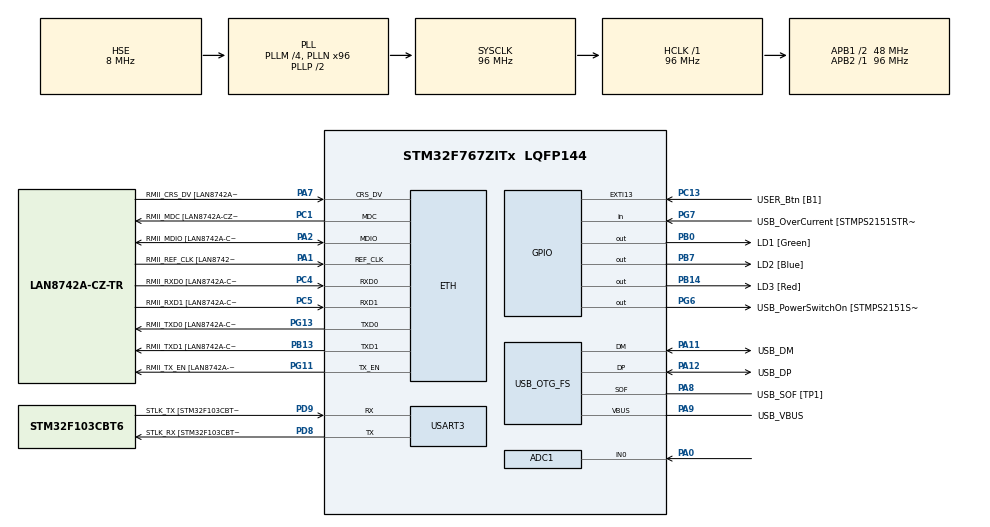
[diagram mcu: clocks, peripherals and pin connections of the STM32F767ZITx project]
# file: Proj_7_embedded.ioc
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ADC1.Channel-0\#ChannelRegularConversion=ADC_CHANNEL_0
ADC1.ClockPrescaler=ADC_CLOCK_SYNC_PCLK_DIV8
ADC1.ContinuousConvMode=ENABLE
ADC1.DMAContinuousRequests=ENABLE
ADC1.ExternalTrigConv=ADC_SOFTWARE_START
ADC1.NbrOfConversionFlag=1
ADC1.Rank-0\#ChannelRegularConversion=1
ADC1.SamplingTime-0\#ChannelRegularConversion=ADC_SAMPLETIME_480CYCLES
ADC1.master=1
Dma.ADC1.0.Direction=DMA_PERIPH_TO_MEMORY
Dma.ADC1.0.FIFOMode=DMA_FIFOMODE_DISABLE
Dma.ADC1.0.Instance=DMA2_Stream0
Dma.ADC1.0.MemDataAlignment=DMA_MDATAALIGN_HALFWORD
Dma.ADC1.0.MemInc=DMA_MINC_ENABLE
Dma.ADC1.0.Mode=DMA_CIRCULAR
Dma.ADC1.0.PeriphDataAlignment=DMA_PDATAALIGN_HALFWORD
Dma.ADC1.0.PeriphInc=DMA_PINC_DISABLE
Dma.ADC1.0.Priority=DMA_PRIORITY_LOW
Dma.Request0=ADC1
ETH.MediaInterface=ETH_MEDIA_INTERFACE_RMII
ETH.PHY_Name=LAN8742A_PHY_ADDRESS
ETH.PHY_Value=0
ETH.PhyAddress=0
FREERTOS.Tasks01=defaultTask,0,128,StartDefaultTask,Default,NULL,Dynamic,NULL,NULL;TaskEthernetADC,0,256,StartTaskEthernet,As external,NULL,Dynamic,NULL,NULL;TaskEthernetCMD,0,256,StartTaskEthernetCMD,As external,NULL,Dynamic,NULL,NULL;TaskADC,0,256,StartTaskADC,As external,NULL,Dynamic,NULL,NULL;TaskDecoder,0,256,StartTaskDecoder,As external,NULL,Dynamic,NULL,NULL
LWIP.GATEWAY_ADDRESS=192.168.001.005
LWIP.IP_ADDRESS=192.168.001.002
LWIP.LWIP_DHCP=0
LWIP.NETMASK_ADDRESS=255.255.255.000
LWIP.Version=v2.1.2_Cube
Mcu.Family=STM32F7
Mcu.Name=STM32F767ZITx
Mcu.Package=LQFP144
Mcu.UserConstants=adc_f,500
NVIC.DMA2_Stream0_IRQn=true\:5\:0\:false\:false\:true\:true\:false\:true
NVIC.ETH_IRQn=true\:5\:0\:false\:false\:true\:true\:true\:true
NVIC.PriorityGroup=NVIC_PRIORITYGROUP_4
NVIC.TIM6_DAC_IRQn=true\:0\:0\:false\:false\:true\:false\:false\:true
NVIC.TimeBase=TIM6_DAC_IRQn
NVIC.TimeBaseIP=TIM6
PA0/WKUP.Signal=ADCx_IN0
PA1.GPIO_Label=RMII_REF_CLK [LAN8742A-CZ-TR_REFCLK0]
PA1.Mode=RMII
PA1.Signal=ETH_REF_CLK
PA10.GPIO_Label=USB_ID
PA10.Signal=USB_OTG_FS_ID
PA11.GPIO_Label=USB_DM
PA11.Mode=Device_Only
PA11.Signal=USB_OTG_FS_DM
PA12.GPIO_Label=USB_DP
PA12.Mode=Device_Only
PA12.Signal=USB_OTG_FS_DP
PA13.GPIO_Label=TMS
PA13.Mode=Serial_Wire
PA13.Signal=SYS_JTMS-SWDIO
PA14.GPIO_Label=TCK
PA14.Mode=Serial_Wire
PA14.Signal=SYS_JTCK-SWCLK
PA2.GPIO_Label=RMII_MDIO [LAN8742A-CZ-TR_MDIO]
PA2.Mode=RMII
PA2.Signal=ETH_MDIO
PA7.GPIO_Label=RMII_CRS_DV [LAN8742A-CZ-TR_CRS_DV]
PA7.Mode=RMII
PA7.Signal=ETH_CRS_DV
PA8.GPIO_Label=USB_SOF [TP1]
PA8.Mode=Activate_SOF_FS
PA8.Signal=USB_OTG_FS_SOF
PA9.GPIO_Label=USB_VBUS
PA9.Mode=Activate_VBUS
PA9.Signal=USB_OTG_FS_VBUS
PB0.GPIO_Label=LD1 [Green]
PB0.Signal=GPIO_Output
PB13.GPIO_Label=RMII_TXD1 [LAN8742A-CZ-TR_TXD1]
PB13.Mode=RMII
PB13.Signal=ETH_TXD1
PB14.GPIO_Label=LD3 [Red]
PB14.Signal=GPIO_Output
PB3.GPIO_Label=SWO
PB3.Signal=SYS_JTDO-SWO
PB7.GPIO_Label=LD2 [Blue]
PB7.Signal=GPIO_Output
PC1.GPIO_Label=RMII_MDC [LAN8742A-CZ-TR_MDC]
PC1.Mode=RMII
PC1.Signal=ETH_MDC
PC13.GPIO_Label=USER_Btn [B1]
PC13.Signal=GPXTI13
PC14/OSC32_IN.Mode=LSE-External-Oscillator
PC14/OSC32_IN.Signal=RCC_OSC32_IN
PC15/OSC32_OUT.Mode=LSE-External-Oscillator
PC15/OSC32_OUT.Signal=RCC_OSC32_OUT
PC4.GPIO_Label=RMII_RXD0 [LAN8742A-CZ-TR_RXD0]
PC4.Mode=RMII
PC4.Signal=ETH_RXD0
PC5.GPIO_Label=RMII_RXD1 [LAN8742A-CZ-TR_RXD1]
PC5.Mode=RMII
PC5.Signal=ETH_RXD1
PD8.GPIO_Label=STLK_RX [STM32F103CBT6_PA3]
PD8.Mode=Asynchronous
PD8.Signal=USART3_TX
PD9.GPIO_Label=STLK_TX [STM32F103CBT6_PA2]
PD9.Mode=Asynchronous
PD9.Signal=USART3_RX
PG11.GPIO_Label=RMII_TX_EN [LAN8742A-CZ-TR_TXEN]
PG11.Mode=RMII
PG11.Signal=ETH_TX_EN
PG13.GPIO_Label=RMII_TXD0 [LAN8742A-CZ-TR_TXD0]
PG13.Mode=RMII
PG13.Signal=ETH_TXD0
PG6.GPIO_Label=USB_PowerSwitchOn [STMPS2151STR_EN]
PG6.Signal=GPIO_Output
PG7.GPIO_Label=USB_OverCurrent [STMPS2151STR_FAULT]
PG7.Signal=GPIO_Input
PH0/OSC_IN.GPIO_Label=MCO [STM32F103CBT6_PA8]
PH0/OSC_IN.Mode=HSE-External-Clock-Source
PH0/OSC_IN.Signal=RCC_OSC_IN
PH1/OSC_OUT.Mode=HSE-External-Clock-Source
PH1/OSC_OUT.Signal=RCC_OSC_OUT
ProjectManager.HeapSize=0x200
ProjectManager.StackSize=0x400
ProjectManager.TargetToolchain=STM32CubeIDE
RCC.48MHZClocksFreq_Value=24000000
RCC.AHBFreq_Value=96000000
RCC.APB1CLKDivider=RCC_HCLK_DIV2
RCC.APB1Freq_Value=48000000
RCC.APB1TimFreq_Value=96000000
RCC.APB2Freq_Value=96000000
RCC.APB2TimFreq_Value=96000000
RCC.CortexFreq_Value=96000000
RCC.HCLKFreq_Value=96000000
RCC.HSE_VALUE=8000000
RCC.HSI_VALUE=16000000
RCC.PLLM=4
RCC.PLLMUL=RCC_PLL_MUL9
RCC.PLLN=96
RCC.PLLQ=4
RCC.PRESCALERUSB=RCC_USBCLKSOURCE_PLL_DIV1_5
RCC.SYSCLKFreq_VALUE=96000000
RCC.SYSCLKSource=RCC_SYSCLKSOURCE_PLLCLK
RCC.SYSCLKSourceVirtual=RCC_SYSCLKSOURCE_PLLCLK
RCC.USBFreq_Value=48000000
RCC.VCOOutputFreq_Value=192000000
SH.ADCx_IN0.0=ADC1_IN0,IN0
TIM8.Period=(10000/adc_f)-1
TIM8.Prescaler=9599
TIM8.TIM_MasterOutputTrigger=TIM_TRGO_UPDATE
USART3.VirtualMode-Asynchronous=VM_ASYNC
USB_OTG_FS.VirtualMode=Device_Only
VP_FREERTOS_VS_CMSIS_V1.Mode=CMSIS_V1
VP_LWIP_VS_Enabled.Mode=Enabled
VP_SYS_VS_tim6.Mode=TIM6
VP_TIM8_VS_ClockSourceINT.Mode=Internal
board=NUCLEO-F767ZI

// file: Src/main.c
/* USER CODE BEGIN Header */
/**
  ******************************************************************************
  * @file           : main.c
  * @brief          : Main program body
  ******************************************************************************
  * @attention
  *
  * <h2><center>&copy; Copyright (c) 2021 STMicroelectronics.
  * All rights reserved.</center></h2>
  *
  * This software component is licensed by ST under Ultimate Liberty license
  * SLA0044, the "License"; You may not use this file except in compliance with
  * the License. You may obtain a copy of the License at:
  *                             www.st.com/SLA0044
  *
  ******************************************************************************
  */
/* USER CODE END Header */

#include "main.h"
#include "cmsis_os.h"
#include "adc.h"
#include "dma.h"
#include "lwip.h"
#include "tim.h"
#include "usart.h"
#include "usb_otg.h"
#include "gpio.h"

void SystemClock_Config(void);
void MX_FREERTOS_Init(void);

int main(void)
{

  /* MCU Configuration--------------------------------------------------------*/

  /* Reset of all peripherals, Initializes the Flash interface and the Systick. */
  HAL_Init();

  /* Configure the system clock */
  SystemClock_Config();

  /* Initialize all configured peripherals */
  MX_GPIO_Init();
  MX_DMA_Init();
  MX_ADC1_Init();
  MX_USART3_UART_Init();
  MX_USB_OTG_FS_PCD_Init();
  MX_TIM8_Init();

  /* Call init function for freertos objects (in freertos.c) */
  MX_FREERTOS_Init();
  /* Start scheduler */
  osKernelStart();

  /* We should never get here as control is now taken by the scheduler */
  /* Infinite loop */
  while (1)
  {

  }
}

void SystemClock_Config(void)
{
  RCC_OscInitTypeDef RCC_OscInitStruct = {0};
  RCC_ClkInitTypeDef RCC_ClkInitStruct = {0};
  RCC_PeriphCLKInitTypeDef PeriphClkInitStruct = {0};

  /** Configure LSE Drive Capability
  */
  HAL_PWR_EnableBkUpAccess();
  /** Configure the main internal regulator output voltage
  */
  __HAL_RCC_PWR_CLK_ENABLE();
  __HAL_PWR_VOLTAGESCALING_CONFIG(PWR_REGULATOR_VOLTAGE_SCALE3);
  /** Initializes the CPU, AHB and APB busses clocks
  */
  RCC_OscInitStruct.OscillatorType = RCC_OSCILLATORTYPE_HSE;
  RCC_OscInitStruct.HSEState = RCC_HSE_BYPASS;
  RCC_OscInitStruct.PLL.PLLState = RCC_PLL_ON;
  RCC_OscInitStruct.PLL.PLLSource = RCC_PLLSOURCE_HSE;
  RCC_OscInitStruct.PLL.PLLM = 4;
  RCC_OscInitStruct.PLL.PLLN = 96;
  RCC_OscInitStruct.PLL.PLLP = RCC_PLLP_DIV2;
  RCC_OscInitStruct.PLL.PLLQ = 4;
  if (HAL_RCC_OscConfig(&RCC_OscInitStruct) != HAL_OK)
  {
    Error_Handler();
  }
  /** Activate the Over-Drive mode
  */
  if (HAL_PWREx_EnableOverDrive() != HAL_OK)
  {
    Error_Handler();
  }
  /** Initializes the CPU, AHB and APB busses clocks
  */
  RCC_ClkInitStruct.ClockType = RCC_CLOCKTYPE_HCLK|RCC_CLOCKTYPE_SYSCLK
                              |RCC_CLOCKTYPE_PCLK1|RCC_CLOCKTYPE_PCLK2;
  RCC_ClkInitStruct.SYSCLKSource = RCC_SYSCLKSOURCE_PLLCLK;
  RCC_ClkInitStruct.AHBCLKDivider = RCC_SYSCLK_DIV1;
  RCC_ClkInitStruct.APB1CLKDivider = RCC_HCLK_DIV2;
  RCC_ClkInitStruct.APB2CLKDivider = RCC_HCLK_DIV1;

  if (HAL_RCC_ClockConfig(&RCC_ClkInitStruct, FLASH_LATENCY_3) != HAL_OK)
  {
    Error_Handler();
  }
  PeriphClkInitStruct.PeriphClockSelection = RCC_PERIPHCLK_USART3|RCC_PERIPHCLK_CLK48;
  PeriphClkInitStruct.Usart3ClockSelection = RCC_USART3CLKSOURCE_PCLK1;
  PeriphClkInitStruct.Clk48ClockSelection = RCC_CLK48SOURCE_PLL;
  if (HAL_RCCEx_PeriphCLKConfig(&PeriphClkInitStruct) != HAL_OK)
  {
    Error_Handler();
  }
}

 /**
  * @brief  Period elapsed callback in non blocking mode
  * @note   This function is called  when TIM6 interrupt took place, inside
  * HAL_TIM_IRQHandler(). It makes a direct call to HAL_IncTick() to increment
  * a global variable "uwTick" used as application time base.
  * @param  htim : TIM handle
  * @retval None
  */
void HAL_TIM_PeriodElapsedCallback(TIM_HandleTypeDef *htim)
{
  if (htim->Instance == TIM6) {
    HAL_IncTick();
  }
}

void Error_Handler(void)
{
}

/************************ (C) COPYRIGHT STMicroelectronics *****END OF FILE****/

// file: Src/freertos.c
/* USER CODE BEGIN Header */
/**
  ******************************************************************************
  * File Name          : freertos.c
  * Description        : Code for freertos applications
  ******************************************************************************
  * @attention
  *
  * <h2><center>&copy; Copyright (c) 2021 STMicroelectronics.
  * All rights reserved.</center></h2>
  *
  * This software component is licensed by ST under Ultimate Liberty license
  * SLA0044, the "License"; You may not use this file except in compliance with
  * the License. You may obtain a copy of the License at:
  *                             www.st.com/SLA0044
  *
  ******************************************************************************
  */
/* USER CODE END Header */

#include "FreeRTOS.h"
#include "task.h"
#include "main.h"
#include "cmsis_os.h"

/* USER CODE BEGIN Includes */
#include "task_ADC.h"
#include "task_Decoder.h"
#include "task_ethernet_adc.h"
#include "task_ethernet_cmd.h"
/* USER CODE END Includes */

osThreadId defaultTaskHandle;
osThreadId TaskEthernetADCHandle;
osThreadId TaskEthernetCMDHandle;
osThreadId TaskADCHandle;
osThreadId TaskDecoderHandle;

/* USER CODE BEGIN FunctionPrototypes */
osMailQId  	 ADC_queue;
osMailQId  	 Config_queue;
xQueueHandle Command_queue;
xQueueHandle Response_queue;
xQueueHandle Error_queue;

/* USER CODE END FunctionPrototypes */

void StartDefaultTask(void const * argument);
extern void StartTaskEthernet(void const * argument);
extern void StartTaskEthernetCMD(void const * argument);
extern void StartTaskADC(void const * argument);
extern void StartTaskDecoder(void const * argument);

extern void MX_LWIP_Init(void);
void MX_FREERTOS_Init(void); /* (MISRA C 2004 rule 8.1) */

/* GetIdleTaskMemory prototype (linked to static allocation support) */
void vApplicationGetIdleTaskMemory( StaticTask_t **ppxIdleTaskTCBBuffer, StackType_t **ppxIdleTaskStackBuffer, uint32_t *pulIdleTaskStackSize );

/* USER CODE BEGIN GET_IDLE_TASK_MEMORY */
static StaticTask_t xIdleTaskTCBBuffer;
static StackType_t xIdleStack[configMINIMAL_STACK_SIZE];

void vApplicationGetIdleTaskMemory( StaticTask_t **ppxIdleTaskTCBBuffer, StackType_t **ppxIdleTaskStackBuffer, uint32_t *pulIdleTaskStackSize )
{
  *ppxIdleTaskTCBBuffer = &xIdleTaskTCBBuffer;
  *ppxIdleTaskStackBuffer = &xIdleStack[0];
  *pulIdleTaskStackSize = configMINIMAL_STACK_SIZE;
  /* place for user code */
}
/* USER CODE END GET_IDLE_TASK_MEMORY */

void MX_FREERTOS_Init(void) {

  /* USER CODE BEGIN RTOS_QUEUES */
  /* add queues, ... */
	osMailQDef(ADC_queue, 16, ADC_struct);          // Definicja kolejki
	osMailQDef(Config_queue, 16, ADC_config);		// Definicja kolejki

	  ADC_queue = osMailCreate(osMailQ(ADC_queue), NULL);
	  Config_queue = osMailCreate(osMailQ(Config_queue), NULL);
	  Command_queue = xQueueCreate(1, sizeof(char*));
	  Response_queue = xQueueCreate(1, sizeof(char*));
	  Error_queue = xQueueCreate(16, sizeof(char*));

  /* USER CODE END RTOS_QUEUES */

  /* Create the thread(s) */
  /* definition and creation of defaultTask */
  osThreadDef(defaultTask, StartDefaultTask, osPriorityNormal, 0, 128);
  defaultTaskHandle = osThreadCreate(osThread(defaultTask), NULL);

  /* definition and creation of TaskEthernetADC */
  osThreadDef(TaskEthernetADC, StartTaskEthernet, osPriorityNormal, 0, 256);
  TaskEthernetADCHandle = osThreadCreate(osThread(TaskEthernetADC), NULL);

  /* definition and creation of TaskEthernetCMD */
  osThreadDef(TaskEthernetCMD, StartTaskEthernetCMD, osPriorityNormal, 0, 256);
  TaskEthernetCMDHandle = osThreadCreate(osThread(TaskEthernetCMD), NULL);

  /* definition and creation of TaskADC */
  osThreadDef(TaskADC, StartTaskADC, osPriorityNormal, 0, 256);
  TaskADCHandle = osThreadCreate(osThread(TaskADC), NULL);

  /* definition and creation of TaskDecoder */
  osThreadDef(TaskDecoder, StartTaskDecoder, osPriorityNormal, 0, 256);
  TaskDecoderHandle = osThreadCreate(osThread(TaskDecoder), NULL);

}

void StartDefaultTask(void const * argument)
{
  /* init code for LWIP */
  MX_LWIP_Init();
  for(;;)
  {
    osDelay(1);
  }
}

/************************ (C) COPYRIGHT STMicroelectronics *****END OF FILE****/
